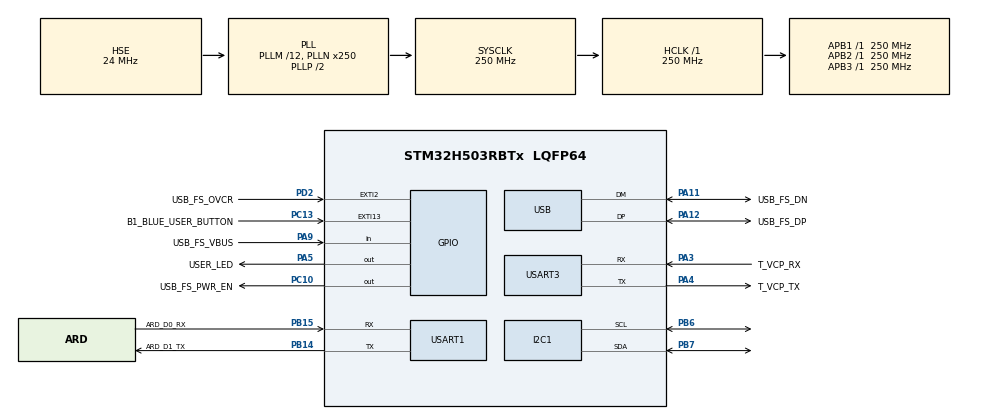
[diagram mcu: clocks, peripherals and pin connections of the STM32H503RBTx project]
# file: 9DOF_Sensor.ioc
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BOOTPATH.BootPathName=LEGACY
BOOTPATH.UserSelectedBootPath=LEGACY
I2C1.Timing=0x60808CD3
Mcu.Family=STM32H5
Mcu.Name=STM32H503RBTx
Mcu.Package=LQFP64
NVIC.PriorityGroup=NVIC_PRIORITYGROUP_4
PA11.GPIO_Label=USB_FS_DN
PA11.Mode=Device
PA11.Signal=USB_DM
PA12.GPIO_Label=USB_FS_DP
PA12.Mode=Device
PA12.Signal=USB_DP
PA13(JTMS/SWDIO).GPIO_Label=T_SWDIO
PA13(JTMS/SWDIO).Mode=JTAG_4_pins
PA13(JTMS/SWDIO).Signal=DEBUG_JTMS-SWDIO
PA14(JTCK/SWCLK).GPIO_Label=T_SWCLK
PA14(JTCK/SWCLK).Mode=JTAG_4_pins
PA14(JTCK/SWCLK).Signal=DEBUG_JTCK-SWCLK
PA15(JTDI).GPIO_Label=T_JTDI
PA15(JTDI).Mode=JTAG_4_pins
PA15(JTDI).Signal=DEBUG_JTDI
PA3.GPIO_Label=T_VCP_RX
PA3.Mode=Asynchronous
PA3.Signal=USART3_RX
PA4.GPIO_Label=T_VCP_TX
PA4.Mode=Asynchronous
PA4.Signal=USART3_TX
PA5.GPIO_Label=USER_LED
PA5.Signal=GPIO_Output
PA9.GPIO_Label=USB_FS_VBUS
PA9.Signal=GPIO_Input
PB14.GPIO_Label=ARD_D1_TX
PB14.Mode=Asynchronous
PB14.Signal=USART1_TX
PB15.GPIO_Label=ARD_D0_RX
PB15.Mode=Asynchronous
PB15.Signal=USART1_RX
PB3(JTDO/TRACESWO).GPIO_Label=T_SWO
PB3(JTDO/TRACESWO).Mode=JTAG_4_pins
PB3(JTDO/TRACESWO).Signal=DEBUG_JTDO-SWO
PB6.Mode=I2C
PB6.Signal=I2C1_SCL
PB7.Mode=I2C
PB7.Signal=I2C1_SDA
PC10.GPIO_Label=USB_FS_PWR_EN
PC10.Signal=GPIO_Output
PC13.GPIO_Label=B1_BLUE_USER_BUTTON
PC13.Signal=GPXTI13
PC14-OSC32_IN(OSC32_IN).Mode=LSE-External-Oscillator
PC14-OSC32_IN(OSC32_IN).Signal=RCC_OSC32_IN
PC15-OSC32_OUT(OSC32_OUT).Mode=LSE-External-Oscillator
PC15-OSC32_OUT(OSC32_OUT).Signal=RCC_OSC32_OUT
PD2.GPIO_Label=USB_FS_OVCR
PD2.Signal=GPXTI2
PH0-OSC_IN(PH0).Mode=HSE-External-Oscillator
PH0-OSC_IN(PH0).Signal=RCC_OSC_IN
PH1-OSC_OUT(PH1).Mode=HSE-External-Oscillator
PH1-OSC_OUT(PH1).Signal=RCC_OSC_OUT
PWR.pwrPrivilege=PWR_PRIVILEGE_NO
ProjectManager.HeapSize=0x200
ProjectManager.StackSize=0x400
ProjectManager.TargetToolchain=STM32CubeIDE
RCC.ADCFreq_Value=250000000
RCC.AHBFreq_Value=250000000
RCC.APB1Freq_Value=250000000
RCC.APB1TimFreq_Value=250000000
RCC.APB2Freq_Value=250000000
RCC.APB2TimFreq_Value=250000000
RCC.APB3Freq_Value=250000000
RCC.CSI_VALUE=4000000
RCC.CortexFreq_Value=250000000
RCC.EPOD_VALUE=24000000
RCC.HCLKFreq_Value=250000000
RCC.HSE_VALUE=24000000
RCC.HSI48_VALUE=48000000
RCC.HSIDiv=RCC_HSI_DIV1
RCC.HSI_VALUE=64000000
RCC.LSIRC_VALUE=32000
RCC.PLLM=12
RCC.PLLN=250
RCC.PLLSourceVirtual=RCC_PLL1_SOURCE_HSE
RCC.SYSCLKFreq_VALUE=250000000
RCC.SYSCLKSource=RCC_SYSCLKSOURCE_PLLCLK
RCC.USBFreq_Value=48000000
RCC.VCOOutputFreq_Value=500000000
USART1.VirtualMode=VM_ASYNC
USART3.VirtualMode=VM_ASYNC
USB.VirtualMode=Device_Only
VP_BOOTPATH_VS_BOOTPATH.Mode=BP_Activate
VP_CORTEX_M33_NS_VS_Hclk.Mode=Hclk_Mode
VP_ICACHE_VS_ICACHE.Mode=DefaultMode
VP_MEMORYMAP_VS_MEMORYMAP.Mode=CurAppReg
VP_PWR_VS_DBSignals.Mode=DisableDeadBatterySignals
VP_PWR_VS_LPOM.Mode=PowerOptimisation
VP_PWR_VS_SECSignals.Mode=Security/Privilege
board=NUCLEO-H503RB

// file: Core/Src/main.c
/* USER CODE BEGIN Header */
/**
 ******************************************************************************
 * @file           : main.c
 * @brief          : Main program body
 ******************************************************************************
 * @attention
 *
 * Copyright (c) 2024 STMicroelectronics.
 * All rights reserved.
 *
 * This software is licensed under terms that can be found in the LICENSE file
 * in the root directory of this software component.
 * If no LICENSE file comes with this software, it is provided AS-IS.
 *
 ******************************************************************************
 */
/* USER CODE END Header */
#include "main.h"

/* USER CODE BEGIN Includes */
#include "stdio.h"
#include "string.h"
#include "../../Drivers/LSM303AGR/lsm303agr.h"
#include "../../Drivers/BMI323_SensorAPI-main/bmi323.h"

/* USER CODE END Includes */

/* USER CODE BEGIN PD */

/*! Earth's gravity in m/s^2 */
#define GRAVITY_EARTH  (9.80665f)

/* USER CODE END PD */

I2C_HandleTypeDef hi2c1;

UART_HandleTypeDef huart1;
UART_HandleTypeDef huart3;

PCD_HandleTypeDef hpcd_USB_DRD_FS;

/*! Variable that holds the I2C device address or SPI chip selection */
static uint8_t dev_addr;

/* USER CODE BEGIN PV */
static struct lsm303agr_dev Sensor;
static struct bmi3_dev acc_dev;
static struct bmi3_sensor_data acc_data;
/* Structure to define accelerometer configuration. */
static struct bmi3_sens_config acc_config;

/* USER CODE END PV */

void SystemClock_Config(void);
static void MX_GPIO_Init(void);
static void MX_ICACHE_Init(void);
static void MX_USART1_UART_Init(void);
static void MX_USART3_UART_Init(void);
static void MX_USB_PCD_Init(void);
static void MX_I2C1_Init(void);
/* USER CODE BEGIN PFP */

/*!
 *  @brief This internal API is used to set configurations for accel.
 *
 *  @param[in] dev       : Structure instance of bmi3_dev.
 *
 *  @return Status of execution.
 */
static int8_t set_accel_config(struct bmi3_dev *dev);

/*!
 *  @brief This internal function converts lsb to meter per second squared for 16 bit accelerometer for
 *  range 2G, 4G, 8G or 16G.
 *
 *  @param[in] val       : LSB from each axis.
 *  @param[in] g_range   : Gravity range.
 *  @param[in] bit_width : Resolution for accel.
 *
 *  @return Accel values in meter per second squared.
 */
static float lsb_to_mps2(int16_t val, int8_t g_range, uint8_t bit_width);

/* USER CODE END PFP */

/* USER CODE BEGIN 0 */
int8_t i2c_1_read(uint8_t dev_addr, uint8_t reg_addr, uint8_t *data,
		uint16_t len) {
	int8_t result;

	result = HAL_I2C_Master_Transmit(&hi2c1, (uint16_t) dev_addr, &reg_addr, 1,
			10);
	result += HAL_I2C_Master_Receive(&hi2c1, (uint16_t) dev_addr, data, len,
			10);
	return result;
}

int8_t i2c_1_write(uint8_t dev_addr, uint8_t reg_addr, uint8_t *data,
		uint16_t len) {
	int8_t result;
	uint8_t buffer[128];

	buffer[0] = reg_addr;
	memcpy(&buffer[1], data, len);

	result = HAL_I2C_Master_Transmit(&hi2c1, (uint16_t) dev_addr, buffer,
			len + 1, 100);
	return result;
}

//BMI3_INTF_RET_TYPE (*bmi3_read_fptr_t)(uint8_t reg_addr, uint8_t *reg_data, uint32_t length, void *intf_ptr);
//BMI3_INTF_RET_TYPE (*bmi3_write_fptr_t)(uint8_t reg_addr, const uint8_t *reg_data, uint32_t length, void *intf_ptr);

int8_t i2c_1_read_bmi(uint8_t reg_addr, uint8_t *data, uint32_t len, void *intf_ptr) {
	int8_t result;

    uint8_t device_addr = *(uint8_t*)intf_ptr;
    (void)intf_ptr;

	result = HAL_I2C_Master_Transmit(&hi2c1, (uint16_t) device_addr, &reg_addr, 1, 10);
	result += HAL_I2C_Master_Receive(&hi2c1, (uint16_t) device_addr, data, len, 10);
	return result;
}

int8_t i2c_1_write_bmi(uint8_t reg_addr, const uint8_t *data, uint32_t len, void *intf_ptr) {
	int8_t result;
	uint8_t buffer[128];

    uint8_t device_addr = *(uint8_t*)intf_ptr;
    (void)intf_ptr;

	buffer[0] = reg_addr;
	memcpy(&buffer[1], data, len);

	result = HAL_I2C_Master_Transmit(&hi2c1, (uint16_t) device_addr, buffer, len + 1, 100);
	return result;
}

//typedef void (*bmi3_delay_us_fptr_t)(uint32_t period, void *intf_ptr);
void custom_us_delay(uint32_t period, void *intf_ptr)
{
	HAL_Delay(period/1000);
}

/*!
 * @brief This internal API is used to set configurations for accel.
 */
static int8_t set_accel_config(struct bmi3_dev *dev)
{
    /* Status of API are returned to this variable. */
    int8_t rslt;

    /* Structure to define accelerometer configuration. */
    struct bmi3_sens_config config;

    /* Structure to map interrupt */
    struct bmi3_map_int map_int = { 0 };

    /* Configure the type of feature. */
    config.type = BMI323_ACCEL;

    /* Get default configurations for the type of feature selected. */
    rslt = bmi323_get_sensor_config(&config, 1, dev);
    //bmi3_error_codes_print_result("bmi323_get_sensor_config", rslt);

    if (rslt == BMI323_OK)
    {
        map_int.acc_drdy_int = BMI3_INT1;

        /* Map data ready interrupt to interrupt pin. */
        rslt = bmi323_map_interrupt(map_int, dev);
        //bmi3_error_codes_print_result("bmi323_map_interrupt", rslt);

        if (rslt == BMI323_OK)
        {
            /* NOTE: The user can change the following configuration parameters according to their requirement. */
            /* Output Data Rate. By default ODR is set as 100Hz for accel. */
            config.cfg.acc.odr = BMI3_ACC_ODR_100HZ;

            /* Gravity range of the sensor (+/- 2G, 4G, 8G, 16G). */
            config.cfg.acc.range = BMI3_ACC_RANGE_2G;

            /* The Accel bandwidth coefficient defines the 3 dB cutoff frequency in relation to the ODR. */
            config.cfg.acc.bwp = BMI3_ACC_BW_ODR_QUARTER;

            /* Set number of average samples for accel. */
            config.cfg.acc.avg_num = BMI3_ACC_AVG64;

            /* Enable the accel mode where averaging of samples
             * will be done based on above set bandwidth and ODR.
             * Note : By default accel is disabled. The accel will get enable by selecting the mode.
             */
            config.cfg.acc.acc_mode = BMI3_ACC_MODE_NORMAL;

            /* Set the accel configurations. */
            rslt = bmi323_set_sensor_config(&config, 1, dev);
            //bmi3_error_codes_print_result("bmi323_set_sensor_config", rslt);
        }
    }

    return rslt;
}

/*!
 * @brief This function converts lsb to meter per second squared for 16 bit accelerometer at
 * range 2G, 4G, 8G or 16G.
 */
static float lsb_to_mps2(int16_t val, int8_t g_range, uint8_t bit_width)
{
    double power = 2;

    float half_scale = (float)((pow((double)power, (double)bit_width) / 2.0f));

    return (GRAVITY_EARTH * val * g_range) / half_scale;
}

/* USER CODE END 0 */

int main(void) {

	/* USER CODE BEGIN 1 */
	uint8_t data[100];
	/* USER CODE END 1 */

	/* MCU Configuration--------------------------------------------------------*/

	/* Reset of all peripherals, Initializes the Flash interface and the Systick. */
	HAL_Init();

	/* Configure the system clock */
	SystemClock_Config();

	/* Initialize all configured peripherals */
	MX_GPIO_Init();
	MX_ICACHE_Init();
	MX_USART1_UART_Init();
	MX_USART3_UART_Init();
	MX_USB_PCD_Init();
	MX_I2C1_Init();
	/* USER CODE BEGIN 2 */

	Sensor.dev_addr_mag = LSM303AGR_MAG_I2C_ADDRESS;
	Sensor.dev_addr_acc = LSM303AGR_ACC_I2C_ADDRESS;
	Sensor.read = i2c_1_read;
	Sensor.write = i2c_1_write;

	struct lsm303agr_mag_data_raw magData_raw;
	struct lsm303agr_mag_offset magOffsetData;
	struct lsm303agr_acc_data accData;

	int8_t res = lsm303agr_mag_init(LSM303AGR_CONTINUOUS, &Sensor);
	sprintf((char*) data, "init mag: ok...: %d\n\r", res);
	//HAL_UART_Transmit(&huart3, data, (uint16_t)strlen((char*)data), 10);
	res = lsm303agr_mag_setDatarate(LSM303AGR_MAG_ODR_100HZ, &Sensor);

	res = lsm303agr_mag_read_offset(&magOffsetData, &Sensor);

	sprintf((char*) data, "MAG offset: [x,y,z]: %d, %d, %d\n\r", magOffsetData.x, magOffsetData.y, magOffsetData.z);
	HAL_UART_Transmit(&huart3, data, (uint16_t)strlen((char*)data), 10);

	magOffsetData.x = -88;
	magOffsetData.y = 136;
	magOffsetData.z = 23;

	res = lsm303agr_acc_init(LSM303AGR_ACC_NORMAL_MODE, &Sensor);

	sprintf((char*) data, "init acc: ok...: %d\n\r", res);
	HAL_UART_Transmit(&huart3, data, (uint16_t)strlen((char*)data), 10);

	/* Select accel sensor. */
	acc_data.type = BMI323_ACCEL;
	dev_addr = 0xD0; //BMI3_ADDR_I2C_PRIM;
	/* Assign device address to interface pointer */
	acc_dev.intf_ptr = &dev_addr;

	acc_dev.read = i2c_1_read_bmi;
    acc_dev.write = i2c_1_write_bmi;
    acc_dev.delay_us = custom_us_delay;
    acc_dev.intf = BMI3_I2C_INTF;

	int8_t rslt_1 = bmi323_init(&acc_dev);

	if (rslt_1 == BMI323_OK) {
		/* Accel configuration settings. */
		rslt_1 = set_accel_config(&acc_dev);

		if (rslt_1 == BMI323_OK) {
			rslt_1 = bmi323_get_sensor_config(&acc_config, 1, &acc_dev);
			//bmi3_error_codes_print_result("bmi323_get_sensor_config", rslt);
		}
	}

	/* USER CODE END 2 */

	/* Infinite loop */
	/* USER CODE BEGIN WHILE */

	sprintf((char*) data, "Begin Search I2C: \n\r");
	HAL_UART_Transmit(&huart3, data, (uint16_t) strlen((char*) data), 10);

	for (uint8_t i = 1; i < 250; i++) {
		uint8_t temp = 0;
		int8_t result = 0;

		result = HAL_I2C_Master_Transmit(&hi2c1, (uint16_t) i, &temp, 1, 100);

		if (result == 0) {
			sprintf((char*) data, "0x%02X ", i);
		} else {
			sprintf((char*) data, "  .  ");
		}
		HAL_UART_Transmit(&huart3, data, (uint16_t) strlen((char*) data), 10);

		if (i % 8 == 0 && i != 0)
			HAL_UART_Transmit(&huart3, "\n\r", 2, 10);
	}
	sprintf((char*) data, "\n\rEnd Search I2C: \n\r");
	HAL_UART_Transmit(&huart3, data, (uint16_t) strlen((char*) data), 10);

	while (1) {
		/* USER CODE END WHILE */

		/* USER CODE BEGIN 3 */
		uint16_t temperature;
		int8_t rslt = 0;

		rslt = lsm303agr_mag_read_data_raw(&magData_raw, &Sensor);

		uint8_t data_ready_status = 0;
		lsm303agr_acc_get_DataReadyStatus(&data_ready_status, &Sensor);
		if (data_ready_status != 0) {
			lsm303agr_acc_read_data(&accData, &Sensor);
			rslt += lsm303agr_temp_read_data(&temperature, &Sensor);
		}

	    float x = 0, y = 0, z = 0;
	    /* Initialize the interrupt status of accel. */
	    uint16_t int_status = 0;

		/* To get the status of accel data ready interrupt. */
		rslt = bmi323_get_int1_status(&int_status, &acc_dev);
		//bmi3_error_codes_print_result("bmi323_get_int1_status", rslt);

		/* To check the accel data ready interrupt status and print the status for 100 samples. */
		if (int_status & BMI3_INT_STATUS_ACC_DRDY)
		{
			/* Get accelerometer data for x, y and z axis. */
			rslt = bmi323_get_sensor_data(&acc_data, 1, &acc_dev);
			//bmi3_error_codes_print_result("Get sensor data", rslt);

			/* Converting lsb to meter per second squared for 16 bit accelerometer at 2G range. */
			x = lsb_to_mps2(acc_data.sens_data.acc.x, 2, acc_dev.resolution);
			y = lsb_to_mps2(acc_data.sens_data.acc.y, 2, acc_dev.resolution);
			z = lsb_to_mps2(acc_data.sens_data.acc.z, 2, acc_dev.resolution);
/*
				   sensor_data.sens_data.acc.x,
				   sensor_data.sens_data.acc.y,
				   sensor_data.sens_data.acc.z,
				   x,
				   y,
				   z;*/
		}

		//sprintf((char*)data, "ACC: %d %d %d %05d %05d %05d TMP: %05d\n\r", accData.x, accData.y, accData.z, magData.x, magData.y, magData.z, temperature );
		sprintf((char*) data,
				"RAW: %06d, %06d, %06d, %05d, %05d, %05d, %05d, %05d, %05d, %05d, %.03f, %.03f, %.03f\n\r",
				accData.x, accData.y, accData.z, 0, 0, 0, magData_raw.x, magData_raw.y,
				magData_raw.z, temperature, x, y, z);
		HAL_UART_Transmit(&huart3, data, (uint16_t) strlen((char*) data), 10);
		HAL_Delay(100);
	}
	/* USER CODE END 3 */
}

void SystemClock_Config(void) {
	RCC_OscInitTypeDef RCC_OscInitStruct = { 0 };
	RCC_ClkInitTypeDef RCC_ClkInitStruct = { 0 };

	/** Configure the main internal regulator output voltage
	 */
	__HAL_PWR_VOLTAGESCALING_CONFIG(PWR_REGULATOR_VOLTAGE_SCALE0);

	while (!__HAL_PWR_GET_FLAG(PWR_FLAG_VOSRDY)) {
	}

	/** Initializes the RCC Oscillators according to the specified parameters
	 * in the RCC_OscInitTypeDef structure.
	 */
	RCC_OscInitStruct.OscillatorType = RCC_OSCILLATORTYPE_HSI48
			| RCC_OSCILLATORTYPE_HSE;
	RCC_OscInitStruct.HSEState = RCC_HSE_ON;
	RCC_OscInitStruct.HSI48State = RCC_HSI48_ON;
	RCC_OscInitStruct.PLL.PLLState = RCC_PLL_ON;
	RCC_OscInitStruct.PLL.PLLSource = RCC_PLL1_SOURCE_HSE;
	RCC_OscInitStruct.PLL.PLLM = 12;
	RCC_OscInitStruct.PLL.PLLN = 250;
	RCC_OscInitStruct.PLL.PLLP = 2;
	RCC_OscInitStruct.PLL.PLLQ = 2;
	RCC_OscInitStruct.PLL.PLLR = 2;
	RCC_OscInitStruct.PLL.PLLRGE = RCC_PLL1_VCIRANGE_1;
	RCC_OscInitStruct.PLL.PLLVCOSEL = RCC_PLL1_VCORANGE_WIDE;
	RCC_OscInitStruct.PLL.PLLFRACN = 0;
	if (HAL_RCC_OscConfig(&RCC_OscInitStruct) != HAL_OK) {
		Error_Handler();
	}

	/** Initializes the CPU, AHB and APB buses clocks
	 */
	RCC_ClkInitStruct.ClockType = RCC_CLOCKTYPE_HCLK | RCC_CLOCKTYPE_SYSCLK
			| RCC_CLOCKTYPE_PCLK1 | RCC_CLOCKTYPE_PCLK2 | RCC_CLOCKTYPE_PCLK3;
	RCC_ClkInitStruct.SYSCLKSource = RCC_SYSCLKSOURCE_PLLCLK;
	RCC_ClkInitStruct.AHBCLKDivider = RCC_SYSCLK_DIV1;
	RCC_ClkInitStruct.APB1CLKDivider = RCC_HCLK_DIV1;
	RCC_ClkInitStruct.APB2CLKDivider = RCC_HCLK_DIV1;
	RCC_ClkInitStruct.APB3CLKDivider = RCC_HCLK_DIV1;

	if (HAL_RCC_ClockConfig(&RCC_ClkInitStruct, FLASH_LATENCY_5) != HAL_OK) {
		Error_Handler();
	}
}

static void MX_I2C1_Init(void) {

	hi2c1.Instance = I2C1;
	hi2c1.Init.Timing = 0x60808CD3;
	hi2c1.Init.OwnAddress1 = 0;
	hi2c1.Init.AddressingMode = I2C_ADDRESSINGMODE_7BIT;
	hi2c1.Init.DualAddressMode = I2C_DUALADDRESS_DISABLE;
	hi2c1.Init.OwnAddress2 = 0;
	hi2c1.Init.OwnAddress2Masks = I2C_OA2_NOMASK;
	hi2c1.Init.GeneralCallMode = I2C_GENERALCALL_DISABLE;
	hi2c1.Init.NoStretchMode = I2C_NOSTRETCH_DISABLE;
	if (HAL_I2C_Init(&hi2c1) != HAL_OK) {
		Error_Handler();
	}

	/** Configure Analogue filter
	 */
	if (HAL_I2CEx_ConfigAnalogFilter(&hi2c1, I2C_ANALOGFILTER_ENABLE)
			!= HAL_OK) {
		Error_Handler();
	}

	/** Configure Digital filter
	 */
	if (HAL_I2CEx_ConfigDigitalFilter(&hi2c1, 0) != HAL_OK) {
		Error_Handler();
	}

}

static void MX_ICACHE_Init(void) {

	/** Enable instruction cache (default 2-ways set associative cache)
	 */
	if (HAL_ICACHE_Enable() != HAL_OK) {
		Error_Handler();
	}

}

static void MX_USART1_UART_Init(void) {

	huart1.Instance = USART1;
	huart1.Init.BaudRate = 115200;
	huart1.Init.WordLength = UART_WORDLENGTH_8B;
	huart1.Init.StopBits = UART_STOPBITS_1;
	huart1.Init.Parity = UART_PARITY_NONE;
	huart1.Init.Mode = UART_MODE_TX_RX;
	huart1.Init.HwFlowCtl = UART_HWCONTROL_NONE;
	huart1.Init.OverSampling = UART_OVERSAMPLING_16;
	huart1.Init.OneBitSampling = UART_ONE_BIT_SAMPLE_DISABLE;
	huart1.Init.ClockPrescaler = UART_PRESCALER_DIV1;
	huart1.AdvancedInit.AdvFeatureInit = UART_ADVFEATURE_NO_INIT;
	if (HAL_UART_Init(&huart1) != HAL_OK) {
		Error_Handler();
	}
	if (HAL_UARTEx_SetTxFifoThreshold(&huart1, UART_TXFIFO_THRESHOLD_1_8)
			!= HAL_OK) {
		Error_Handler();
	}
	if (HAL_UARTEx_SetRxFifoThreshold(&huart1, UART_RXFIFO_THRESHOLD_1_8)
			!= HAL_OK) {
		Error_Handler();
	}
	if (HAL_UARTEx_DisableFifoMode(&huart1) != HAL_OK) {
		Error_Handler();
	}

}

static void MX_USART3_UART_Init(void) {

	huart3.Instance = USART3;
	huart3.Init.BaudRate = 115200;
	huart3.Init.WordLength = UART_WORDLENGTH_8B;
	huart3.Init.StopBits = UART_STOPBITS_1;
	huart3.Init.Parity = UART_PARITY_NONE;
	huart3.Init.Mode = UART_MODE_TX_RX;
	huart3.Init.HwFlowCtl = UART_HWCONTROL_NONE;
	huart3.Init.OverSampling = UART_OVERSAMPLING_16;
	huart3.Init.OneBitSampling = UART_ONE_BIT_SAMPLE_DISABLE;
	huart3.Init.ClockPrescaler = UART_PRESCALER_DIV1;
	huart3.AdvancedInit.AdvFeatureInit = UART_ADVFEATURE_NO_INIT;
	if (HAL_UART_Init(&huart3) != HAL_OK) {
		Error_Handler();
	}
	if (HAL_UARTEx_SetTxFifoThreshold(&huart3, UART_TXFIFO_THRESHOLD_1_8)
			!= HAL_OK) {
		Error_Handler();
	}
	if (HAL_UARTEx_SetRxFifoThreshold(&huart3, UART_RXFIFO_THRESHOLD_1_8)
			!= HAL_OK) {
		Error_Handler();
	}
	if (HAL_UARTEx_DisableFifoMode(&huart3) != HAL_OK) {
		Error_Handler();
	}

}

static void MX_USB_PCD_Init(void) {

	hpcd_USB_DRD_FS.Instance = USB_DRD_FS;
	hpcd_USB_DRD_FS.Init.dev_endpoints = 8;
	hpcd_USB_DRD_FS.Init.speed = USBD_FS_SPEED;
	hpcd_USB_DRD_FS.Init.phy_itface = PCD_PHY_EMBEDDED;
	hpcd_USB_DRD_FS.Init.Sof_enable = DISABLE;
	hpcd_USB_DRD_FS.Init.low_power_enable = DISABLE;
	hpcd_USB_DRD_FS.Init.lpm_enable = DISABLE;
	hpcd_USB_DRD_FS.Init.battery_charging_enable = DISABLE;
	hpcd_USB_DRD_FS.Init.vbus_sensing_enable = DISABLE;
	hpcd_USB_DRD_FS.Init.bulk_doublebuffer_enable = DISABLE;
	hpcd_USB_DRD_FS.Init.iso_singlebuffer_enable = DISABLE;
	if (HAL_PCD_Init(&hpcd_USB_DRD_FS) != HAL_OK) {
		Error_Handler();
	}

}

static void MX_GPIO_Init(void) {
	GPIO_InitTypeDef GPIO_InitStruct = { 0 };

	/* GPIO Ports Clock Enable */
	__HAL_RCC_GPIOC_CLK_ENABLE();
	__HAL_RCC_GPIOH_CLK_ENABLE();
	__HAL_RCC_GPIOA_CLK_ENABLE();
	__HAL_RCC_GPIOB_CLK_ENABLE();
	__HAL_RCC_GPIOD_CLK_ENABLE();

	/*Configure GPIO pin Output Level */
	HAL_GPIO_WritePin(USER_LED_GPIO_Port, USER_LED_Pin, GPIO_PIN_RESET);

	/*Configure GPIO pin Output Level */
	HAL_GPIO_WritePin(USB_FS_PWR_EN_GPIO_Port, USB_FS_PWR_EN_Pin,
			GPIO_PIN_RESET);

	/*Configure GPIO pin : B1_BLUE_USER_BUTTON_Pin */
	GPIO_InitStruct.Pin = B1_BLUE_USER_BUTTON_Pin;
	GPIO_InitStruct.Mode = GPIO_MODE_IT_RISING;
	GPIO_InitStruct.Pull = GPIO_NOPULL;
	HAL_GPIO_Init(B1_BLUE_USER_BUTTON_GPIO_Port, &GPIO_InitStruct);

	/*Configure GPIO pin : USER_LED_Pin */
	GPIO_InitStruct.Pin = USER_LED_Pin;
	GPIO_InitStruct.Mode = GPIO_MODE_OUTPUT_PP;
	GPIO_InitStruct.Pull = GPIO_NOPULL;
	GPIO_InitStruct.Speed = GPIO_SPEED_FREQ_LOW;
	HAL_GPIO_Init(USER_LED_GPIO_Port, &GPIO_InitStruct);

	/*Configure GPIO pin : USB_FS_VBUS_Pin */
	GPIO_InitStruct.Pin = USB_FS_VBUS_Pin;
	GPIO_InitStruct.Mode = GPIO_MODE_INPUT;
	GPIO_InitStruct.Pull = GPIO_NOPULL;
	HAL_GPIO_Init(USB_FS_VBUS_GPIO_Port, &GPIO_InitStruct);

	/*Configure GPIO pin : USB_FS_PWR_EN_Pin */
	GPIO_InitStruct.Pin = USB_FS_PWR_EN_Pin;
	GPIO_InitStruct.Mode = GPIO_MODE_OUTPUT_PP;
	GPIO_InitStruct.Pull = GPIO_NOPULL;
	GPIO_InitStruct.Speed = GPIO_SPEED_FREQ_LOW;
	HAL_GPIO_Init(USB_FS_PWR_EN_GPIO_Port, &GPIO_InitStruct);

	/*Configure GPIO pin : USB_FS_OVCR_Pin */
	GPIO_InitStruct.Pin = USB_FS_OVCR_Pin;
	GPIO_InitStruct.Mode = GPIO_MODE_IT_RISING;
	GPIO_InitStruct.Pull = GPIO_NOPULL;
	HAL_GPIO_Init(USB_FS_OVCR_GPIO_Port, &GPIO_InitStruct);

}

void Error_Handler(void) {
	__disable_irq();
	while (1) {
	}
}
